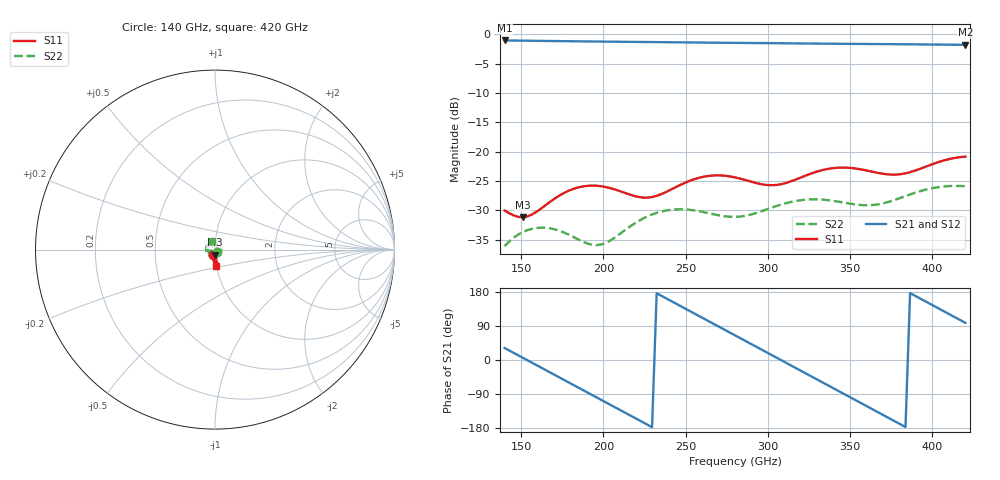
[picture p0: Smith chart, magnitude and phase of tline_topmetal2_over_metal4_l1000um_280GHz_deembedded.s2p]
! Created with skrf 2.0.1 (http://scikit-rf.org).
# GHz S DB R 50.0
!freq dBS11 angS11 dBS21 angS21 dBS12 angS12 dBS22 angS22
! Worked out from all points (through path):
!   101 points, 140 GHz to 420 GHz, reference 50 ohm
!   highest |S21| = -1.04 dB at 140 GHz (marker M1); lowest = -1.8 dB at 420 GHz (marker M2)
!   group delay of S21, straight-line fit = 6.48 ps
!   lowest |S11| = -31.2 dB at 151.2 GHz (marker M3), VSWR 1.06, Z = 49.8 - j2.75 ohm
!   |S11| at or under -10 dB: start of sweep to end of sweep
!   |S22| runs from -36.1 to -25.8 dB; largest |S21 - S12| = 9.8e-14
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140  -30.04 -105.9  -1.04 31.7  -1.04 31.7  -36.11 -54.9
151.2  -31.18 -93.2  -1.08 5.5  -1.08 5.5  -33.69 -87.4
168  -28.47 -78.2  -1.13 -33.7  -1.13 -33.7  -33.09 -143.6
187.6  -25.92 -89.2  -1.20 -79.4  -1.20 -79.4  -35.35 129.8
201.6  -26.04 -99.1  -1.24 -112.0  -1.24 -112.0  -35.54 46.4
215.6  -27.28 -100.9  -1.28 -144.6  -1.28 -144.6  -32.89 -28.1
226.8  -27.84 -92.9  -1.31 -170.8  -1.31 -170.8  -31.04 -77.0
235.2  -27.25 -85.8  -1.33 169.6  -1.33 169.6  -30.21 -111.2
246.4  -25.72 -82.9  -1.36 143.5  -1.36 143.5  -29.82 -156.5
260.4  -24.30 -88.3  -1.40 110.8  -1.40 110.8  -30.28 143.5
280  -24.39 -98.6  -1.45 65.1  -1.45 65.1  -31.12 46.4
294  -25.42 -98.0  -1.48 32.4  -1.48 32.4  -30.36 -26.5
305.2  -25.68 -90.7  -1.51 6.2  -1.51 6.2  -29.27 -80.1
316.4  -24.81 -84.3  -1.54 -19.9  -1.54 -19.9  -28.44 -129.9
327.6  -23.60 -84.0  -1.57 -46.1  -1.57 -46.1  -28.13 -178.2
338.8  -22.84 -88.1  -1.59 -72.2  -1.59 -72.2  -28.35 132.3
350  -22.77 -92.9  -1.62 -98.4  -1.62 -98.4  -28.87 79.3
361.2  -23.28 -95.0  -1.64 -124.5  -1.64 -124.5  -29.14 21.8
375.2  -23.92 -90.1  -1.67 -157.3  -1.67 -157.3  -28.40 -51.3
394.8  -22.68 -80.4  -1.72 156.9  -1.72 156.9  -26.56 -143.5
408.8  -21.35 -82.3  -1.76 124.2  -1.76 124.2  -25.89 155.7
420  -20.85 -86.9  -1.78 98.0  -1.78 98.0  -25.89 106.7
